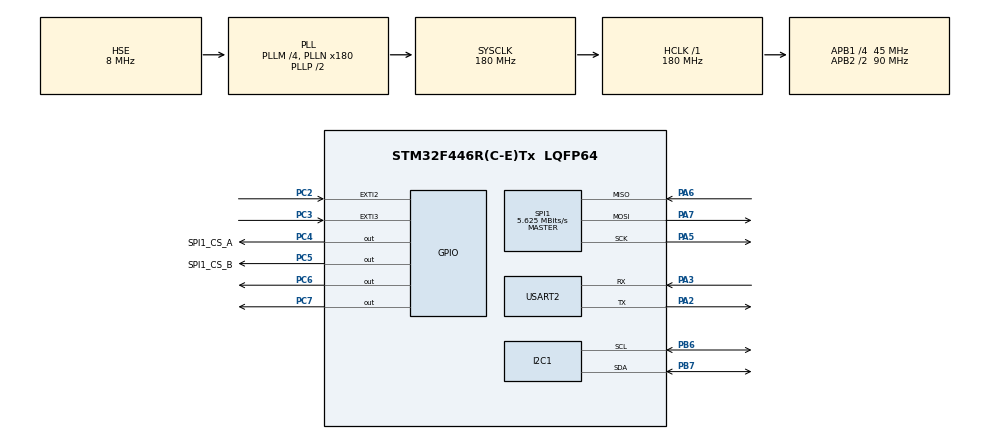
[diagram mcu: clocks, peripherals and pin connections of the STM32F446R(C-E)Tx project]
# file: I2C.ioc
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Mcu.Family=STM32F4
Mcu.Name=STM32F446R(C-E)Tx
Mcu.Package=LQFP64
NVIC.EXTI2_IRQn=true\:0\:0\:false\:false\:true\:true\:true\:true
NVIC.EXTI3_IRQn=true\:0\:0\:false\:false\:true\:true\:true\:true
NVIC.I2C1_ER_IRQn=true\:0\:0\:false\:false\:true\:true\:true\:true
NVIC.I2C1_EV_IRQn=true\:0\:0\:false\:false\:true\:true\:true\:true
NVIC.PriorityGroup=NVIC_PRIORITYGROUP_4
NVIC.TIM2_IRQn=true\:0\:0\:false\:false\:true\:true\:true\:true
NVIC.TIM3_IRQn=true\:0\:0\:false\:false\:true\:true\:true\:true
PA10.Signal=USART1_RX
PA13.Mode=Serial_Wire
PA13.Signal=SYS_JTMS-SWDIO
PA14.Mode=Serial_Wire
PA14.Signal=SYS_JTCK-SWCLK
PA2.Mode=Asynchronous
PA2.Signal=USART2_TX
PA3.Mode=Asynchronous
PA3.Signal=USART2_RX
PA5.Mode=Full_Duplex_Master
PA5.Signal=SPI1_SCK
PA6.GPIO_PuPd=GPIO_PULLDOWN
PA6.Mode=Full_Duplex_Master
PA6.Signal=SPI1_MISO
PA7.Mode=Full_Duplex_Master
PA7.Signal=SPI1_MOSI
PA9.Signal=USART1_TX
PB6.GPIO_Pu=GPIO_NOPULL
PB6.Mode=I2C
PB6.Signal=I2C1_SCL
PB7.Mode=I2C
PB7.Signal=I2C1_SDA
PC2.GPIO_ModeDefaultEXTI=GPIO_MODE_IT_RISING_FALLING
PC2.GPIO_PuPd=GPIO_PULLUP
PC2.Signal=GPXTI2
PC3.GPIO_ModeDefaultEXTI=GPIO_MODE_IT_RISING_FALLING
PC3.GPIO_PuPd=GPIO_PULLUP
PC3.Signal=GPXTI3
PC4.GPIO_Label=SPI1_CS_A
PC4.PinState=GPIO_PIN_SET
PC4.Signal=GPIO_Output
PC5.GPIO_Label=SPI1_CS_B
PC5.PinState=GPIO_PIN_SET
PC5.Signal=GPIO_Output
PC6.Signal=GPIO_Output
PC7.Signal=GPIO_Output
PH0-OSC_IN.Mode=HSE-External-Clock-Source
PH0-OSC_IN.Signal=RCC_OSC_IN
PH1-OSC_OUT.Mode=HSE-External-Clock-Source
PH1-OSC_OUT.Signal=RCC_OSC_OUT
ProjectManager.HeapSize=0x200
ProjectManager.StackSize=0x400
ProjectManager.TargetToolchain=STM32CubeIDE
RCC.AHBFreq_Value=180000000
RCC.APB1CLKDivider=RCC_HCLK_DIV4
RCC.APB1Freq_Value=45000000
RCC.APB1TimFreq_Value=90000000
RCC.APB2CLKDivider=RCC_HCLK_DIV2
RCC.APB2Freq_Value=90000000
RCC.APB2TimFreq_Value=180000000
RCC.CortexFreq_Value=180000000
RCC.HCLKFreq_Value=180000000
RCC.HSE_VALUE=8000000
RCC.PLLM=4
RCC.PLLN=180
RCC.PLLSourceVirtual=RCC_PLLSOURCE_HSE
RCC.SYSCLKFreq_VALUE=180000000
RCC.SYSCLKSource=RCC_SYSCLKSOURCE_PLLCLK
RCC.USBFreq_Value=180000000
RCC.VCOOutputFreq_Value=360000000
SPI1.BaudRatePrescaler=SPI_BAUDRATEPRESCALER_16
SPI1.CalculateBaudRate=5.625 MBits/s
SPI1.Direction=SPI_DIRECTION_2LINES
SPI1.Mode=SPI_MODE_MASTER
SPI1.VirtualType=VM_MASTER
TIM2.Period=99
TIM2.Prescaler=8999
TIM3.Period=999
TIM3.Prescaler=44999
USART2.VirtualMode=VM_ASYNC
VP_TIM2_VS_ClockSourceINT.Mode=Internal
VP_TIM3_VS_ClockSourceINT.Mode=Internal
board=custom

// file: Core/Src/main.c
/* USER CODE BEGIN Header */
/**
  ******************************************************************************
  * @file           : main.c
  * @brief          : Main program body
  ******************************************************************************
  * @attention
  *
  * Copyright (c) 2026 STMicroelectronics.
  * All rights reserved.
  *
  * This software is licensed under terms that can be found in the LICENSE file
  * in the root directory of this software component.
  * If no LICENSE file comes with this software, it is provided AS-IS.
  *
  ******************************************************************************
  */
/* USER CODE END Header */
#include "main.h"

/* USER CODE BEGIN Includes */
#include <stdio.h>
#include <stdint.h>
#include <string.h>
#include <math.h>
/* USER CODE END Includes */

/* USER CODE BEGIN PD */
#define VK16K33_ADDR (0x70 << 1)

#define SCALE_COUNT      2
#define SPI_FRAME_SIZE   10
#define SPI_FRAME_SYNC   0xA5

// 0 while the display is unplugged: with no I2C pull-ups the bus reads busy
// and every display write spins long enough to starve the main loop
#define DISPLAY_CONNECTED 0
/* USER CODE END PD */

I2C_HandleTypeDef hi2c1;

SPI_HandleTypeDef hspi1;

TIM_HandleTypeDef htim2;
TIM_HandleTypeDef htim3;

UART_HandleTypeDef huart2;

/* USER CODE BEGIN PV */
static const uint8_t g_number_table[] = {
    0x3F, /* 0 */
	0x06, /* 1 */
	0x5B, /* 2 */
	0x4F, /* 3 */
    0x66, /* 4 */
	0x6D, /* 5 */
	0x7D, /* 6 */
	0x07, /* 7 */
    0x7F, /* 8 */
	0x6F, /* 9 */
	0x77, /* a */
	0x7C, /* b */
    0x39, /* C */
	0x5E, /* d */
	0x79, /* E */
	0x71  /* F */
};

volatile uint8_t id_display_requested = 0; // Flag set by EXTI
volatile uint8_t display_update_due = 0;   // Flag set by TIM3

static uint8_t i2c_tx[11];
uint8_t ID_showing;

// latest reading from each sensor board, written by SPI_Read_Scale()
typedef struct {
	int16_t  mass;			// tared, calibrated weight
	uint16_t adc_raw;		// raw adc average
	uint16_t tare;			// raw adc value at last tare
	uint8_t  seq;			// slave sample counter
	uint8_t  flags;			// bit 0: tare applied
	uint8_t  valid;			// last read passed sync + checksum
} scale_reading_t;

scale_reading_t scales[SCALE_COUNT];

static const struct {
	GPIO_TypeDef *port;
	uint16_t pin;
} scale_cs[SCALE_COUNT] = {
	{ SPI1_CS_A_GPIO_Port, SPI1_CS_A_Pin },
	{ SPI1_CS_B_GPIO_Port, SPI1_CS_B_Pin },
};

volatile uint8_t active_scale = 0;		// state of the board shown [0 = a, 1 = b]
volatile uint8_t poll_due = 0;			// set by TIM2 at 100 Hz
volatile uint8_t streams = 0;
/* USER CODE END PV */

void SystemClock_Config(void);
static void MX_GPIO_Init(void);
static void MX_I2C1_Init(void);
static void MX_SPI1_Init(void);
static void MX_TIM2_Init(void);
static void MX_TIM3_Init(void);
static void MX_USART2_UART_Init(void);
/* USER CODE BEGIN PFP */
void Display_Value(float sensor_grams);
void Display_Show_Scale_ID(uint8_t scale_num);
void SPI_Read_Scale(uint8_t idx);
void UART_Send_Scale(uint8_t idx);
/* USER CODE END PFP */

int main(void)
{

  /* MCU Configuration--------------------------------------------------------*/

  /* Reset of all peripherals, Initializes the Flash interface and the Systick. */
  HAL_Init();

  /* Configure the system clock */
  SystemClock_Config();

  /* Initialize all configured peripherals */
  MX_GPIO_Init();
  MX_I2C1_Init();
  MX_SPI1_Init();
  MX_TIM2_Init();
  MX_TIM3_Init();
  MX_USART2_UART_Init();
  /* USER CODE BEGIN 2 */
  uint8_t osc_cmd = 0x21;
  if (HAL_I2C_Master_Transmit(&hi2c1, VK16K33_ADDR, &osc_cmd, 1, 100) != HAL_OK) {
        Error_Handler();
    }

    // Turn on display
    uint8_t display_cmd = 0x81;
    HAL_I2C_Master_Transmit(&hi2c1, VK16K33_ADDR, &display_cmd, 1, 100);

    // Set brightness to medium (0xEF for max, 0xE7 for mid)
    uint8_t bright_cmd = 0xE7;
    HAL_I2C_Master_Transmit(&hi2c1, VK16K33_ADDR, &bright_cmd, 1, 100);

  // Timer
  HAL_TIM_Base_Start_IT(&htim2);
  HAL_TIM_Base_Start_IT(&htim3);
//
//  // 4. Test pattern: Show '8' on all 4 digits and turn colon on
//  //    Register address: 0x00
//  //    0x7F = binary 01111111 (all segments A-G active)
//  uint8_t test_frame[11] = {
//      0x00,       // Start at register 0x00
//      0x7F, 0x00, // Digit 0: '8'
//      0x7F, 0x00, // Digit 1: '8'
//      0x02, 0x00, // Colon: ON (bit 1)
//      0x7F, 0x00, // Digit 2: '8'
//      0x7F, 0x00  // Digit 3: '8'
//  };
//  HAL_I2C_Master_Transmit(&hi2c1, VK16K33_ADDR, test_frame, sizeof(test_frame), 100);

  /* USER CODE END 2 */

  /* Infinite loop */
    while (1)
    {

    /* USER CODE BEGIN 3 */
	if (poll_due) {
		poll_due = 0;
		for (uint8_t i = 0; i < SCALE_COUNT; i++) {
			SPI_Read_Scale(i);
            UART_Send_Scale(i);
		}
		}
	if (id_display_requested) {
			id_display_requested = 0;
			Display_Show_Scale_ID(active_scale);
		}

	if (display_update_due) {
		display_update_due = 0;
		// Safe to display val
		if (streams & (1u << active_scale)) {
			Display_Value(scales[active_scale].mass);
		} else {
			if (HAL_I2C_GetState(&hi2c1) == HAL_I2C_STATE_READY){
				memset(i2c_tx, 0, 11);
				HAL_I2C_Master_Transmit_IT(&hi2c1, VK16K33_ADDR, i2c_tx, 11);
			}
		}
	}
    __WFI();
  }
  /* USER CODE END 3 */
}

void SystemClock_Config(void)
{
  RCC_OscInitTypeDef RCC_OscInitStruct = {0};
  RCC_ClkInitTypeDef RCC_ClkInitStruct = {0};

  /** Configure the main internal regulator output voltage
  */
  __HAL_RCC_PWR_CLK_ENABLE();
  __HAL_PWR_VOLTAGESCALING_CONFIG(PWR_REGULATOR_VOLTAGE_SCALE1);

  /** Initializes the RCC Oscillators according to the specified parameters
  * in the RCC_OscInitTypeDef structure.
  */
  RCC_OscInitStruct.OscillatorType = RCC_OSCILLATORTYPE_HSE;
  RCC_OscInitStruct.HSEState = RCC_HSE_BYPASS;
  RCC_OscInitStruct.PLL.PLLState = RCC_PLL_ON;
  RCC_OscInitStruct.PLL.PLLSource = RCC_PLLSOURCE_HSE;
  RCC_OscInitStruct.PLL.PLLM = 4;
  RCC_OscInitStruct.PLL.PLLN = 180;
  RCC_OscInitStruct.PLL.PLLP = RCC_PLLP_DIV2;
  RCC_OscInitStruct.PLL.PLLQ = 2;
  RCC_OscInitStruct.PLL.PLLR = 2;
  if (HAL_RCC_OscConfig(&RCC_OscInitStruct) != HAL_OK)
  {
    Error_Handler();
  }

  /** Activate the Over-Drive mode
  */
  if (HAL_PWREx_EnableOverDrive() != HAL_OK)
  {
    Error_Handler();
  }

  /** Initializes the CPU, AHB and APB buses clocks
  */
  RCC_ClkInitStruct.ClockType = RCC_CLOCKTYPE_HCLK|RCC_CLOCKTYPE_SYSCLK
                              |RCC_CLOCKTYPE_PCLK1|RCC_CLOCKTYPE_PCLK2;
  RCC_ClkInitStruct.SYSCLKSource = RCC_SYSCLKSOURCE_PLLCLK;
  RCC_ClkInitStruct.AHBCLKDivider = RCC_SYSCLK_DIV1;
  RCC_ClkInitStruct.APB1CLKDivider = RCC_HCLK_DIV4;
  RCC_ClkInitStruct.APB2CLKDivider = RCC_HCLK_DIV2;

  if (HAL_RCC_ClockConfig(&RCC_ClkInitStruct, FLASH_LATENCY_5) != HAL_OK)
  {
    Error_Handler();
  }
}

static void MX_I2C1_Init(void)
{

  hi2c1.Instance = I2C1;
  hi2c1.Init.ClockSpeed = 100000;
  hi2c1.Init.DutyCycle = I2C_DUTYCYCLE_2;
  hi2c1.Init.OwnAddress1 = 0;
  hi2c1.Init.AddressingMode = I2C_ADDRESSINGMODE_7BIT;
  hi2c1.Init.DualAddressMode = I2C_DUALADDRESS_DISABLE;
  hi2c1.Init.OwnAddress2 = 0;
  hi2c1.Init.GeneralCallMode = I2C_GENERALCALL_DISABLE;
  hi2c1.Init.NoStretchMode = I2C_NOSTRETCH_DISABLE;
  if (HAL_I2C_Init(&hi2c1) != HAL_OK)
  {
    Error_Handler();
  }

}

static void MX_SPI1_Init(void)
{

  /* SPI1 parameter configuration*/
  hspi1.Instance = SPI1;
  hspi1.Init.Mode = SPI_MODE_MASTER;
  hspi1.Init.Direction = SPI_DIRECTION_2LINES;
  hspi1.Init.DataSize = SPI_DATASIZE_8BIT;
  hspi1.Init.CLKPolarity = SPI_POLARITY_LOW;
  hspi1.Init.CLKPhase = SPI_PHASE_1EDGE;
  hspi1.Init.NSS = SPI_NSS_SOFT;
  hspi1.Init.BaudRatePrescaler = SPI_BAUDRATEPRESCALER_16;
  hspi1.Init.FirstBit = SPI_FIRSTBIT_MSB;
  hspi1.Init.TIMode = SPI_TIMODE_DISABLE;
  hspi1.Init.CRCCalculation = SPI_CRCCALCULATION_DISABLE;
  hspi1.Init.CRCPolynomial = 10;
  if (HAL_SPI_Init(&hspi1) != HAL_OK)
  {
    Error_Handler();
  }

}

static void MX_TIM2_Init(void)
{

  TIM_ClockConfigTypeDef sClockSourceConfig = {0};
  TIM_MasterConfigTypeDef sMasterConfig = {0};

  htim2.Instance = TIM2;
  htim2.Init.Prescaler = 8999;
  htim2.Init.CounterMode = TIM_COUNTERMODE_UP;
  htim2.Init.Period = 99;
  htim2.Init.ClockDivision = TIM_CLOCKDIVISION_DIV1;
  htim2.Init.AutoReloadPreload = TIM_AUTORELOAD_PRELOAD_DISABLE;
  if (HAL_TIM_Base_Init(&htim2) != HAL_OK)
  {
    Error_Handler();
  }
  sClockSourceConfig.ClockSource = TIM_CLOCKSOURCE_INTERNAL;
  if (HAL_TIM_ConfigClockSource(&htim2, &sClockSourceConfig) != HAL_OK)
  {
    Error_Handler();
  }
  sMasterConfig.MasterOutputTrigger = TIM_TRGO_RESET;
  sMasterConfig.MasterSlaveMode = TIM_MASTERSLAVEMODE_DISABLE;
  if (HAL_TIMEx_MasterConfigSynchronization(&htim2, &sMasterConfig) != HAL_OK)
  {
    Error_Handler();
  }

}

static void MX_TIM3_Init(void)
{

  TIM_ClockConfigTypeDef sClockSourceConfig = {0};
  TIM_MasterConfigTypeDef sMasterConfig = {0};

  htim3.Instance = TIM3;
  htim3.Init.Prescaler = 44999;
  htim3.Init.CounterMode = TIM_COUNTERMODE_UP;
  htim3.Init.Period = 999;
  htim3.Init.ClockDivision = TIM_CLOCKDIVISION_DIV1;
  htim3.Init.AutoReloadPreload = TIM_AUTORELOAD_PRELOAD_DISABLE;
  if (HAL_TIM_Base_Init(&htim3) != HAL_OK)
  {
    Error_Handler();
  }
  sClockSourceConfig.ClockSource = TIM_CLOCKSOURCE_INTERNAL;
  if (HAL_TIM_ConfigClockSource(&htim3, &sClockSourceConfig) != HAL_OK)
  {
    Error_Handler();
  }
  sMasterConfig.MasterOutputTrigger = TIM_TRGO_RESET;
  sMasterConfig.MasterSlaveMode = TIM_MASTERSLAVEMODE_DISABLE;
  if (HAL_TIMEx_MasterConfigSynchronization(&htim3, &sMasterConfig) != HAL_OK)
  {
    Error_Handler();
  }

}

static void MX_USART2_UART_Init(void)
{

  huart2.Instance = USART2;
  huart2.Init.BaudRate = 115200;
  huart2.Init.WordLength = UART_WORDLENGTH_8B;
  huart2.Init.StopBits = UART_STOPBITS_1;
  huart2.Init.Parity = UART_PARITY_NONE;
  huart2.Init.Mode = UART_MODE_TX_RX;
  huart2.Init.HwFlowCtl = UART_HWCONTROL_NONE;
  huart2.Init.OverSampling = UART_OVERSAMPLING_16;
  if (HAL_UART_Init(&huart2) != HAL_OK)
  {
    Error_Handler();
  }

}

static void MX_GPIO_Init(void)
{
  GPIO_InitTypeDef GPIO_InitStruct = {0};

  /* GPIO Ports Clock Enable */
  __HAL_RCC_GPIOH_CLK_ENABLE();
  __HAL_RCC_GPIOC_CLK_ENABLE();
  __HAL_RCC_GPIOA_CLK_ENABLE();
  __HAL_RCC_GPIOB_CLK_ENABLE();

  /*Configure GPIO pin Output Level */
  HAL_GPIO_WritePin(GPIOC, SPI1_CS_A_Pin|SPI1_CS_B_Pin, GPIO_PIN_SET);

  /*Configure GPIO pin Output Level */
  HAL_GPIO_WritePin(GPIOC, GPIO_PIN_6|GPIO_PIN_7, GPIO_PIN_RESET);

  /*Configure GPIO pins : PC2 PC3 */
  GPIO_InitStruct.Pin = GPIO_PIN_2|GPIO_PIN_3;
  GPIO_InitStruct.Mode = GPIO_MODE_IT_RISING_FALLING;
  GPIO_InitStruct.Pull = GPIO_PULLUP;
  HAL_GPIO_Init(GPIOC, &GPIO_InitStruct);

  /*Configure GPIO pins : SPI1_CS_A_Pin SPI1_CS_B_Pin PC6 PC7 */
  GPIO_InitStruct.Pin = SPI1_CS_A_Pin|SPI1_CS_B_Pin|GPIO_PIN_6|GPIO_PIN_7;
  GPIO_InitStruct.Mode = GPIO_MODE_OUTPUT_PP;
  GPIO_InitStruct.Pull = GPIO_NOPULL;
  GPIO_InitStruct.Speed = GPIO_SPEED_FREQ_LOW;
  HAL_GPIO_Init(GPIOC, &GPIO_InitStruct);

  /*Configure GPIO pins : PA9 PA10 */
  GPIO_InitStruct.Pin = GPIO_PIN_9|GPIO_PIN_10;
  GPIO_InitStruct.Mode = GPIO_MODE_AF_PP;
  GPIO_InitStruct.Pull = GPIO_NOPULL;
  GPIO_InitStruct.Speed = GPIO_SPEED_FREQ_VERY_HIGH;
  GPIO_InitStruct.Alternate = GPIO_AF7_USART1;
  HAL_GPIO_Init(GPIOA, &GPIO_InitStruct);

  /* EXTI interrupt init*/
  HAL_NVIC_SetPriority(EXTI2_IRQn, 0, 0);
  HAL_NVIC_EnableIRQ(EXTI2_IRQn);

  HAL_NVIC_SetPriority(EXTI3_IRQn, 0, 0);
  HAL_NVIC_EnableIRQ(EXTI3_IRQn);

}

/* USER CODE BEGIN 4 */
void Display_Show_Scale_ID(uint8_t scale_num) {
    if (HAL_I2C_GetState(&hi2c1) != HAL_I2C_STATE_READY) return;
//    HAL_TIM_Base_Stop_IT(&htim3);
    ID_showing = 0;

    i2c_tx[0] = 0x00;
    i2c_tx[1] = 0x6D; i2c_tx[2] = 0x00; // 'S'
    i2c_tx[3] = 0x39; i2c_tx[4] = 0x00; // 'C'
    i2c_tx[5] = 0x02; i2c_tx[6] = 0x00; // Colon ON
    i2c_tx[7] = g_number_table[(scale_num / 10) % 10]; i2c_tx[8] = 0x00;
    i2c_tx[9] = g_number_table[scale_num % 10];        i2c_tx[10] = 0x00;

    HAL_I2C_Master_Transmit_IT(&hi2c1, VK16K33_ADDR, i2c_tx, 11);
//    HAL_TIM_Base_Start_IT(&htim3);

}

void Display_Value(float sensor_grams) {
    // Abort if I2C is still busy sending the last message
	ID_showing = ID_showing + 1;

    if ((HAL_I2C_GetState(&hi2c1) != HAL_I2C_STATE_READY) || ID_showing < 5 || streams == 0) return;

    ID_showing = 60;
    int display_val = (int)(sensor_grams * 10.0f);

    if (display_val < 0) display_val = 0;
    if (display_val > 9999) display_val = 9999;

    uint8_t d0 = (display_val / 1000) % 10;
    uint8_t d1 = (display_val / 100)  % 10;
    uint8_t d2 = (display_val / 10)   % 10;
    uint8_t d3 = display_val % 10;

    i2c_tx[0] = 0x00;
    i2c_tx[1] = g_number_table[d0]; i2c_tx[2] = 0x00;
    i2c_tx[3] = g_number_table[d1]; i2c_tx[4] = 0x00;
    i2c_tx[5] = 0x00;               i2c_tx[6] = 0x00; // Colon OFF
    i2c_tx[7] = g_number_table[d2] | 0x80; i2c_tx[8] = 0x00; // Decimal ON
    i2c_tx[9] = g_number_table[d3]; i2c_tx[10] = 0x00;

    HAL_I2C_Master_Transmit_IT(&hi2c1, VK16K33_ADDR, i2c_tx, 11);
}

void SPI_Read_Scale(uint8_t idx) {
	uint8_t tx[SPI_FRAME_SIZE] = {0};	// generate clock
	uint8_t rx[SPI_FRAME_SIZE];

	HAL_GPIO_WritePin(scale_cs[idx].port, scale_cs[idx].pin, GPIO_PIN_RESET);
	HAL_StatusTypeDef status = HAL_SPI_TransmitReceive(&hspi1, tx, rx, SPI_FRAME_SIZE, 5);
	HAL_GPIO_WritePin(scale_cs[idx].port, scale_cs[idx].pin, GPIO_PIN_SET);

	// run checksum to validaete packet
	uint8_t checksum = 0;
	for (uint8_t i = 0; i < SPI_FRAME_SIZE; i++) {
		checksum ^= rx[i];
	}

	// fallback if board is missing
	if (status != HAL_OK || rx[0] != SPI_FRAME_SYNC || checksum != 0) {
		scales[idx].valid = 0;
		return;
	}

	scales[idx].seq        = rx[1];
	scales[idx].mass       = (int16_t) ((rx[2] << 8) | rx[3]);
	scales[idx].adc_raw    = (rx[4] << 8) | rx[5];
	scales[idx].tare       = (rx[6] << 8) | rx[7];
	scales[idx].flags      = rx[8];
	scales[idx].valid      = 1;
}

void UART_Send_Scale(uint8_t idx)
{
	if (!(streams & (1u << idx))) return;   // switch off: don't send

	char buf[32];
	int n;
	char id = 'A' + idx;

	if (scales[idx].valid) {
		n = snprintf(buf, sizeof buf, "%c,%d,%d,%d,%d,%d\r\n",
		             id, scales[idx].seq, scales[idx].mass,
		             scales[idx].adc_raw, scales[idx].tare, scales[idx].flags);
	} else {
		n = snprintf(buf, sizeof buf, "%c,ERR\r\n", id);
	}

	HAL_UART_Transmit(&huart2, (uint8_t *)buf, n, 10);
}

void HAL_TIM_PeriodElapsedCallback(TIM_HandleTypeDef *htim)
{
	if (htim->Instance == TIM2) {
		poll_due = 1;
	}
	else if (htim->Instance == TIM3) {
		display_update_due = 1;
	}
}

void HAL_GPIO_EXTI_Callback(uint16_t GPIO_Pin)
{
	uint16_t led;
	uint8_t bit;

	if (GPIO_Pin == GPIO_PIN_2) {
		led = GPIO_PIN_6;
		bit = 0x01;

	} else if (GPIO_Pin == GPIO_PIN_3) {
		led = GPIO_PIN_7;
		bit = 0x02;
	} else return;

	if (HAL_GPIO_ReadPin(GPIOC, GPIO_Pin) == GPIO_PIN_RESET){
		streams |= bit;
		active_scale = bit >> 1;
		id_display_requested = 1;
	} else {
	    streams &= ~bit;
	    if (streams) {                       // other switch still on → show that board
	        active_scale = (streams & 0x01) ? 0 : 1;
	        id_display_requested = 1;
	    }
	}

	HAL_GPIO_WritePin(GPIOC, led, (streams & bit) ? GPIO_PIN_SET : GPIO_PIN_RESET);
}

/* USER CODE END 4 */

void Error_Handler(void)
{
  __disable_irq();
  while (1)
  {
  }
}
